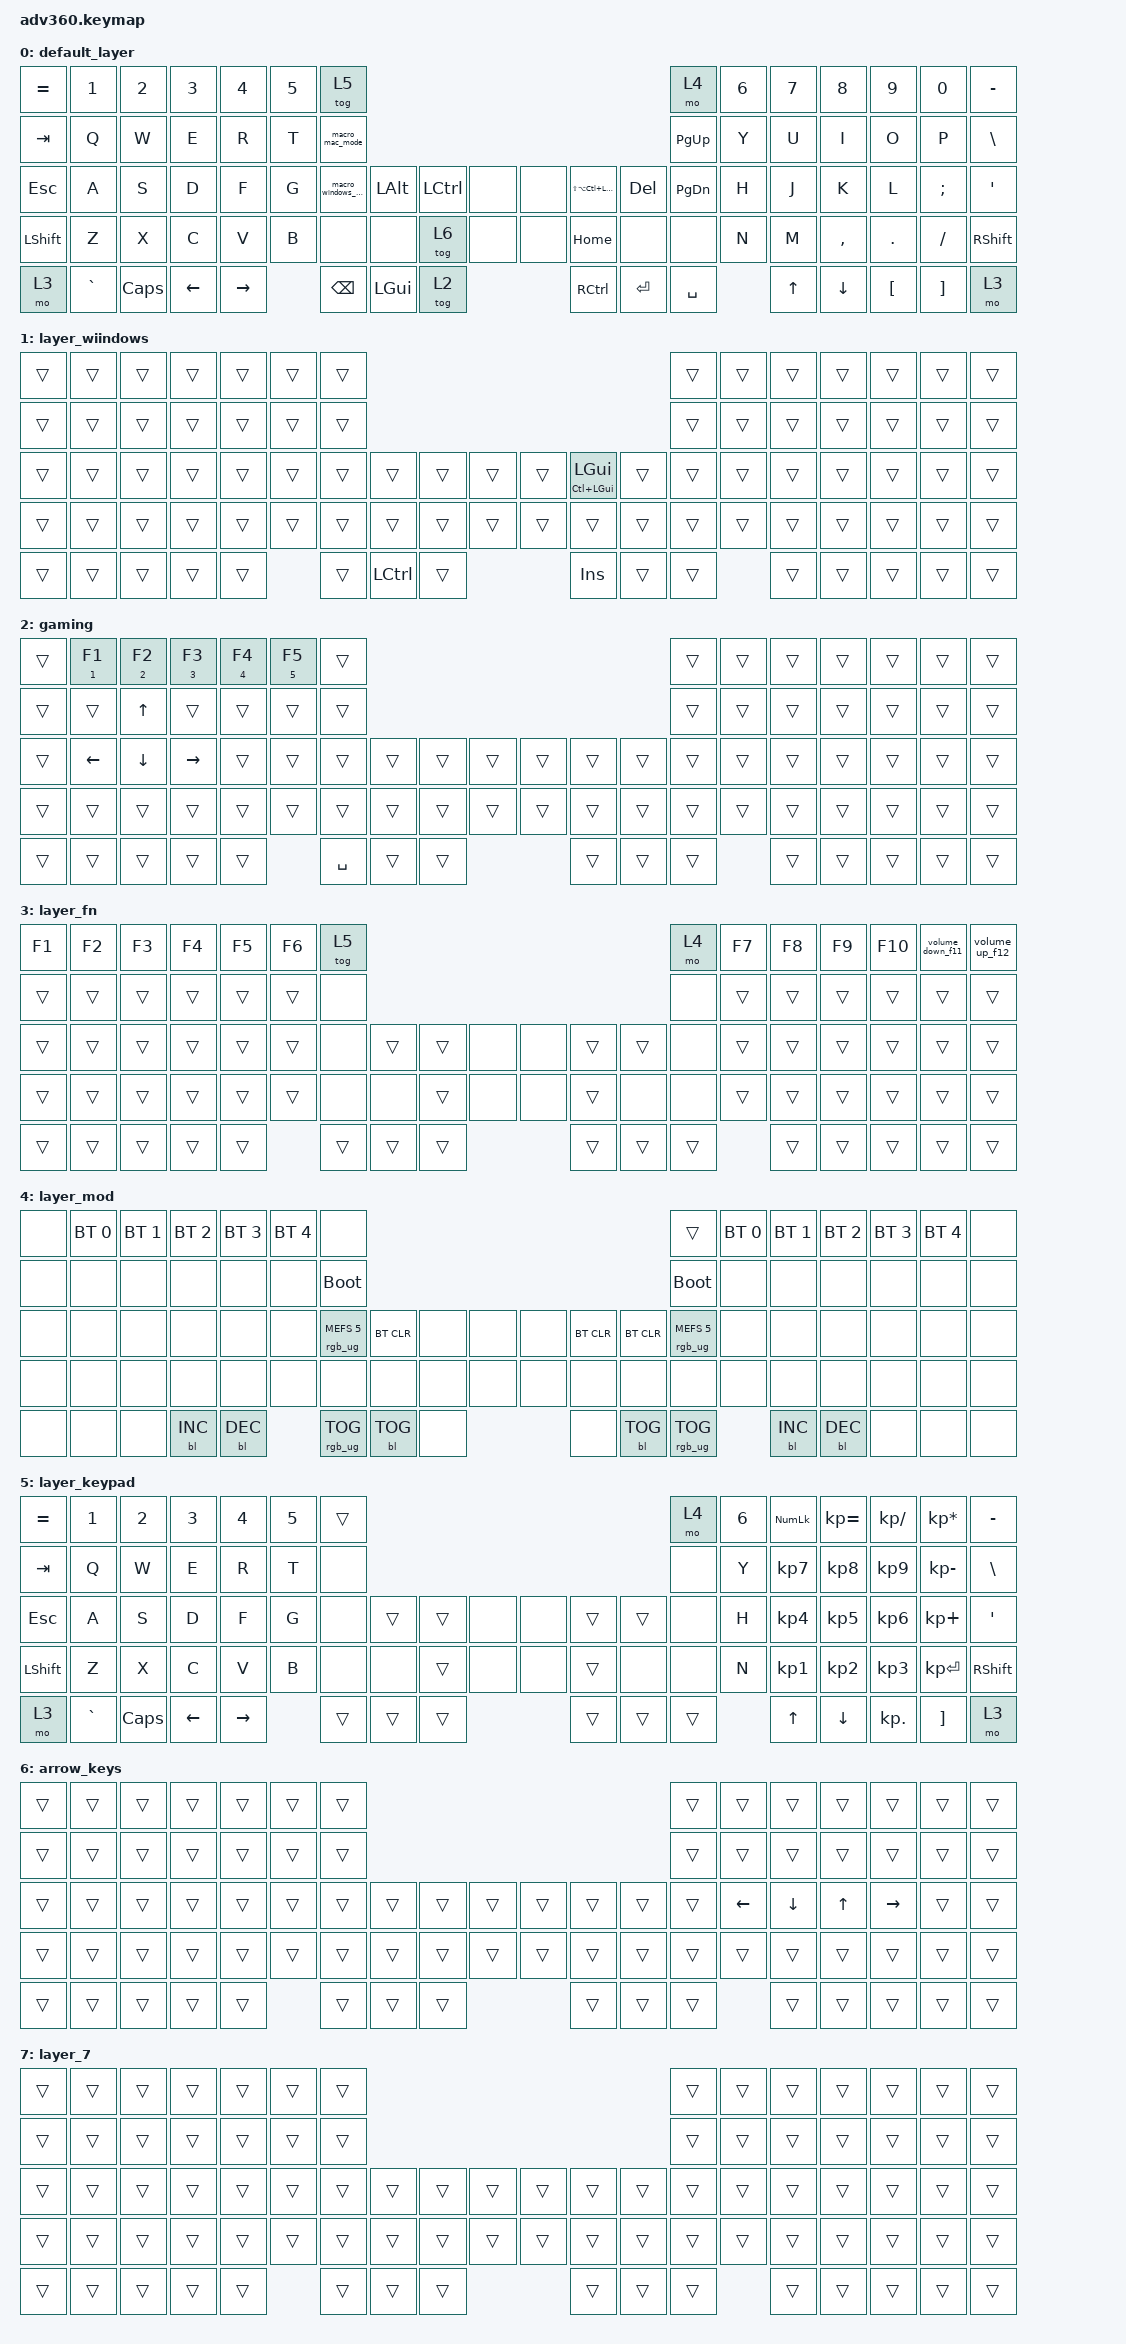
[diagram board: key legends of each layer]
/*
 * Copyright (c) 2020 The ZMK Contributors
 *
 * SPDX-License-Identifier: MIT
 */
/* THIS FILE WAS GENERATED!
 *
 * This file was generated automatically. You may or may not want to
 * edit it directly.
 */

#include <behaviors.dtsi>
#include <dt-bindings/zmk/keys.h>
#include <dt-bindings/zmk/bt.h>
#include <dt-bindings/zmk/rgb.h>
#include <dt-bindings/zmk/stp.h>
#include <dt-bindings/zmk/backlight.h>
#include <dt-bindings/zmk/pointing.h>

/ {
    behaviors {
      #include "macros.dtsi"
      #include "version.dtsi"

        hm: homerow_mods {
            compatible = "zmk,behavior-hold-tap";
            label = "HOMEROW_MODS";
            #binding-cells = <2>;
            tapping-term-ms = <200>;
            quick_tap_ms = <175>;
            flavor = "tap-preferred";
            bindings = <&kp>, <&kp>;
        };

        volume_up_f12: volume_up_f12 {
            compatible = "zmk,behavior-mod-morph";
            label = "VOLUME_UP_F12";
            bindings = <&kp F12>, <&kp C_VOLUME_UP>;

            #binding-cells = <0>;
            mods = <(MOD_LSFT)>;
        };

        volume_down_f11: volume_down_f11 {
            compatible = "zmk,behavior-mod-morph";
            label = "VOLUME_DOWN_F11";
            bindings = <&kp F11>, <&kp C_VOLUME_DOWN>;

            #binding-cells = <0>;
            mods = <(MOD_LSFT)>;
        };

        mt_tap_pref: mt_tap_pref {
            compatible = "zmk,behavior-hold-tap";
            label = "MT_TAP_PREF";
            bindings = <&kp>, <&kp>;

            #binding-cells = <2>;
            tapping-term-ms = <400>;
            flavor = "tap-preferred";
        };
    };

    macro_windows_mode: macro_windows_mode {
        compatible = "zmk,behavior-macro";
        label = "macro_windows_mode";
        #binding-cells = <0>;
        bindings = <&bt BT_SEL 1 &to 1>;
    };

    macro_mac_mode: macro_mac_mode {
        compatible = "zmk,behavior-macro";
        label = "macro_mac_mode";
        #binding-cells = <0>;
        bindings = <&bt BT_SEL 0 &to 0>;
    };

    macros {
    };

    combos { compatible = "zmk,combos"; };

    keymap {
        compatible = "zmk,keymap";

        default_layer {
            bindings = <
&kp EQUAL  &kp N1     &kp N2    &kp N3    &kp N4     &kp N5  &tog 5                                                                                           &mo 4          &kp N6  &kp N7  &kp N8     &kp N9    &kp N0    &kp MINUS
&kp TAB    &kp Q      &kp W     &kp E     &kp R      &kp T   &macro_mac_mode                                                                                  &kp PAGE_UP    &kp Y   &kp U   &kp I      &kp O     &kp P     &kp BSLH
&kp ESC    &kp A      &kp S     &kp D     &kp F      &kp G   &macro_windows_mode  &kp LALT  &kp LCTRL  &none  &none  &kp LS(LA(LC(LEFT_COMMAND)))  &kp DEL    &kp PAGE_DOWN  &kp H   &kp J   &kp K      &kp L     &kp SEMI  &kp SQT
&kp LSHFT  &kp Z      &kp X     &kp C     &kp V      &kp B   &none                &none     &tog 6     &none  &none  &kp HOME                      &none      &none          &kp N   &kp M   &kp COMMA  &kp DOT   &kp FSLH  &kp RSHFT
&mo 3      &kp GRAVE  &kp CAPS  &kp LEFT  &kp RIGHT          &kp BACKSPACE        &kp LGUI  &tog 2                   &kp RCTRL                     &kp ENTER  &kp SPACE              &kp UP  &kp DOWN   &kp LBKT  &kp RBKT  &mo 3
            >;
        };

        layer_wiindows {
            bindings = <
&trans  &trans  &trans  &trans  &trans  &trans  &trans                                                                                 &trans  &trans  &trans  &trans  &trans  &trans  &trans
&trans  &trans  &trans  &trans  &trans  &trans  &trans                                                                                 &trans  &trans  &trans  &trans  &trans  &trans  &trans
&trans  &trans  &trans  &trans  &trans  &trans  &trans  &trans     &trans  &trans  &trans  &mt_tap_pref LC(LEFT_GUI) LEFT_GUI  &trans  &trans  &trans  &trans  &trans  &trans  &trans  &trans
&trans  &trans  &trans  &trans  &trans  &trans  &trans  &trans     &trans  &trans  &trans  &trans                              &trans  &trans  &trans  &trans  &trans  &trans  &trans  &trans
&trans  &trans  &trans  &trans  &trans          &trans  &kp LCTRL  &trans                  &kp INS                             &trans  &trans          &trans  &trans  &trans  &trans  &trans
            >;
        };

        gaming {
            bindings = <
&trans  &mt NUMBER_1 F1  &mt NUMBER_2 F2  &mt NUMBER_3 F3  &mt NUMBER_4 F4  &mt NUMBER_5 F5  &trans                                                     &trans  &trans  &trans  &trans  &trans  &trans  &trans
&trans  &trans           &kp UP_ARROW     &trans           &trans           &trans           &trans                                                     &trans  &trans  &trans  &trans  &trans  &trans  &trans
&trans  &kp LEFT_ARROW   &kp DOWN         &kp RIGHT        &trans           &trans           &trans     &trans  &trans  &trans  &trans  &trans  &trans  &trans  &trans  &trans  &trans  &trans  &trans  &trans
&trans  &trans           &trans           &trans           &trans           &trans           &trans     &trans  &trans  &trans  &trans  &trans  &trans  &trans  &trans  &trans  &trans  &trans  &trans  &trans
&trans  &trans           &trans           &trans           &trans                            &kp SPACE  &trans  &trans                  &trans  &trans  &trans          &trans  &trans  &trans  &trans  &trans
            >;
        };

        layer_fn {
            bindings = <
&kp F1  &kp F2  &kp F3  &kp F4  &kp F5  &kp F6  &tog 5                                                &mo 4   &kp F7  &kp F8  &kp F9  &kp F10  &volume_down_f11  &volume_up_f12
&trans  &trans  &trans  &trans  &trans  &trans  &none                                                 &none   &trans  &trans  &trans  &trans   &trans            &trans
&trans  &trans  &trans  &trans  &trans  &trans  &none   &trans  &trans  &none  &none  &trans  &trans  &none   &trans  &trans  &trans  &trans   &trans            &trans
&trans  &trans  &trans  &trans  &trans  &trans  &none   &none   &trans  &none  &none  &trans  &none   &none   &trans  &trans  &trans  &trans   &trans            &trans
&trans  &trans  &trans  &trans  &trans          &trans  &trans  &trans                &trans  &trans  &trans          &trans  &trans  &trans   &trans            &trans
            >;
        };

        layer_mod {
            bindings = <
&none  &bt BT_SEL 0  &bt BT_SEL 1  &bt BT_SEL 2  &bt BT_SEL 3  &bt BT_SEL 4  &none                                                                            &trans                  &bt BT_SEL 0  &bt BT_SEL 1  &bt BT_SEL 2  &bt BT_SEL 3  &bt BT_SEL 4  &none
&none  &none         &none         &none         &none         &none         &bootloader                                                                      &bootloader             &none         &none         &none         &none         &none         &none
&none  &none         &none         &none         &none         &none         &rgb_ug RGB_MEFS_CMD 5  &bt BT_CLR  &none  &none  &none  &bt BT_CLR  &bt BT_CLR  &rgb_ug RGB_MEFS_CMD 5  &none         &none         &none         &none         &none         &none
&none  &none         &none         &none         &none         &none         &none                   &none       &none  &none  &none  &none       &none       &none                   &none         &none         &none         &none         &none         &none
&none  &none         &none         &bl BL_INC    &bl BL_DEC                  &rgb_ug RGB_TOG         &bl BL_TOG  &none                &none       &bl BL_TOG  &rgb_ug RGB_TOG                       &bl BL_INC    &bl BL_DEC    &none         &none         &none
            >;
        };

        layer_keypad {
            bindings = <
&kp EQUAL  &kp N1     &kp N2    &kp N3    &kp N4     &kp N5  &trans                                                &mo 4   &kp N6  &kp KP_NUM  &kp KP_EQUAL  &kp KP_DIVIDE  &kp KP_MULTIPLY  &kp MINUS
&kp TAB    &kp Q      &kp W     &kp E     &kp R      &kp T   &none                                                 &none   &kp Y   &kp KP_N7   &kp KP_N8     &kp KP_N9      &kp KP_MINUS     &kp BSLH
&kp ESC    &kp A      &kp S     &kp D     &kp F      &kp G   &none   &trans  &trans  &none  &none  &trans  &trans  &none   &kp H   &kp KP_N4   &kp KP_N5     &kp KP_N6      &kp KP_PLUS      &kp SQT
&kp LSHFT  &kp Z      &kp X     &kp C     &kp V      &kp B   &none   &none   &trans  &none  &none  &trans  &none   &none   &kp N   &kp KP_N1   &kp KP_N2     &kp KP_N3      &kp KP_ENTER     &kp RSHFT
&mo 3      &kp GRAVE  &kp CAPS  &kp LEFT  &kp RIGHT          &trans  &trans  &trans                &trans  &trans  &trans          &kp UP      &kp DOWN      &kp KP_DOT     &kp RBKT         &mo 3
            >;
        };

        arrow_keys {
            bindings = <
&trans  &trans  &trans  &trans  &trans  &trans  &trans                                                  &trans  &trans    &trans    &trans  &trans     &trans  &trans
&trans  &trans  &trans  &trans  &trans  &trans  &trans                                                  &trans  &trans    &trans    &trans  &trans     &trans  &trans
&trans  &trans  &trans  &trans  &trans  &trans  &trans  &trans  &trans  &trans  &trans  &trans  &trans  &trans  &kp LEFT  &kp DOWN  &kp UP  &kp RIGHT  &trans  &trans
&trans  &trans  &trans  &trans  &trans  &trans  &trans  &trans  &trans  &trans  &trans  &trans  &trans  &trans  &trans    &trans    &trans  &trans     &trans  &trans
&trans  &trans  &trans  &trans  &trans          &trans  &trans  &trans                  &trans  &trans  &trans            &trans    &trans  &trans     &trans  &trans
            >;
        };

        layer_7 {
            bindings = <
&trans  &trans  &trans  &trans  &trans  &trans  &trans                                                  &trans  &trans  &trans  &trans  &trans  &trans  &trans
&trans  &trans  &trans  &trans  &trans  &trans  &trans                                                  &trans  &trans  &trans  &trans  &trans  &trans  &trans
&trans  &trans  &trans  &trans  &trans  &trans  &trans  &trans  &trans  &trans  &trans  &trans  &trans  &trans  &trans  &trans  &trans  &trans  &trans  &trans
&trans  &trans  &trans  &trans  &trans  &trans  &trans  &trans  &trans  &trans  &trans  &trans  &trans  &trans  &trans  &trans  &trans  &trans  &trans  &trans
&trans  &trans  &trans  &trans  &trans          &trans  &trans  &trans                  &trans  &trans  &trans          &trans  &trans  &trans  &trans  &trans
            >;
        };
    };
};
